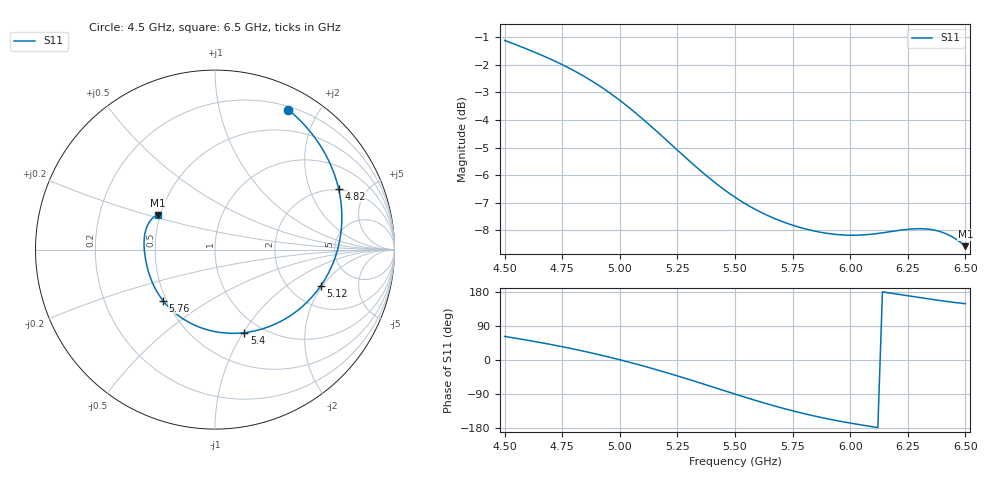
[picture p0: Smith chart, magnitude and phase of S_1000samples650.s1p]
! TOUCHSTONE file generated by CST MICROWAVE STUDIO
! Date and time: Fri Oct 28 22:00:05 2022
! Project name: L.cst
! Parameters = {Di=1.27; Epsilon_r=1.56; InnerDiameter=1.27; Length=2; Lf=10; Lg=60; OuterConductorThickness=0.2921; OuterDiameter=3.6; Wf=3; Wp=41.2; de=1.5; df=6.8; g=0.8; gx=1.14012; gy=0.727839; h=2.34; hf=1.524; px=9.41842; py=9.45835; w=9.7; wx=8.2783; wy=8.73051}
! Header version: 2018
! Port assignment regex: !\s*Touchstone port\s*([0-9]+)\s*=\s*(CST MWS port|CST DS port)\s*([0-9]+|Zmin|Zmax)\s*\(\"(.*)\"\)(\s*mode\s*([0-9]+))?.*
! Touchstone port assignment:
! Touchstone port 1 = CST MWS port 1 ("")
# GHz S DB R 50
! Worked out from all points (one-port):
!   101 points, 4.5 GHz to 6.5 GHz, reference 50 ohm
!   lowest |S11| = -8.6 dB at 6.5 GHz (marker M1), VSWR 2.19, Z = 24.3 + j10.9 ohm
!   |S11| at or under -10 dB: nowhere
!   S11 on the Smith chart (normalised r, x): 4.5 GHz: 0.24, +1.63; 4.82 GHz: 1.94, +3.20; 5.12 GHz: 2.92, -1.93; 5.4 GHz: 0.83, -1.01; 5.76 GHz: 0.48, -0.33; 6.5 GHz: 0.49, +0.22
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4.5  -1.11 62.3
4.58  -1.37 54.1
4.64  -1.58 47.7
4.7  -1.79 41.0
4.76  -2.03 33.8
4.82  -2.30 26.2
4.88  -2.59 18.2
4.92  -2.81 12.5
5  -3.29 0.6
5.06  -3.68 -8.9
5.12  -4.11 -18.9
5.2  -4.71 -32.9
5.26  -5.17 -43.9
5.34  -5.76 -59.0
5.4  -6.18 -70.6
5.44  -6.44 -78.3
5.5  -6.80 -89.9
5.56  -7.11 -101.2
5.64  -7.46 -115.8
5.7  -7.67 -126.0
5.76  -7.84 -135.6
5.86  -8.05 -149.8
6  -8.18 -166.4
6.14  -8.09 179.8
6.26  -7.96 168.7
6.34  -7.96 161.4
6.4  -8.07 156.1
6.5  -8.58 148.7
